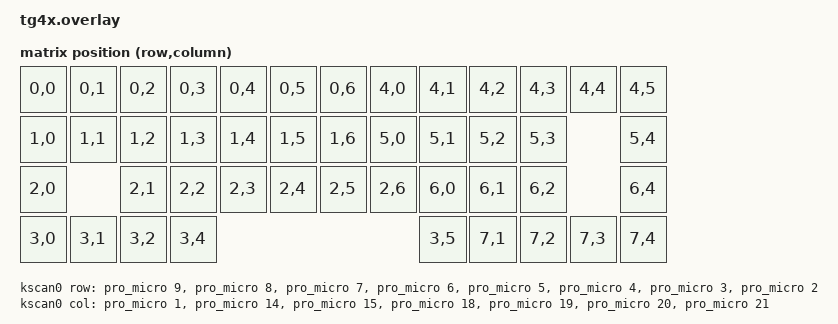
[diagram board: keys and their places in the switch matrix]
/*
 * Copyright (c) 2020 The ZMK Contributors
 *
 * SPDX-License-Identifier: MIT
 */

#include <dt-bindings/zmk/matrix_transform.h>

/ {
	kscan0: kscan {
		compatible = "zmk,kscan-gpio-matrix";
		label = "KSCAN";
		
		diode-direction = "col2row";

		row-gpios
			= <&pro_micro 9 (GPIO_ACTIVE_HIGH | GPIO_PULL_DOWN)>
			, <&pro_micro 8 (GPIO_ACTIVE_HIGH | GPIO_PULL_DOWN)>
			, <&pro_micro 7 (GPIO_ACTIVE_HIGH | GPIO_PULL_DOWN)>
			, <&pro_micro 6 (GPIO_ACTIVE_HIGH | GPIO_PULL_DOWN)>
			, <&pro_micro 5 (GPIO_ACTIVE_HIGH | GPIO_PULL_DOWN)>
			, <&pro_micro 4 (GPIO_ACTIVE_HIGH | GPIO_PULL_DOWN)>
			, <&pro_micro 3 (GPIO_ACTIVE_HIGH | GPIO_PULL_DOWN)>
			, <&pro_micro 2 (GPIO_ACTIVE_HIGH | GPIO_PULL_DOWN)>
			;

		col-gpios
			= <&pro_micro 1 GPIO_ACTIVE_HIGH>
			, <&pro_micro 14 GPIO_ACTIVE_HIGH>
			, <&pro_micro 15 GPIO_ACTIVE_HIGH>
			, <&pro_micro 18 GPIO_ACTIVE_HIGH>
			, <&pro_micro 19 GPIO_ACTIVE_HIGH>
			, <&pro_micro 20 GPIO_ACTIVE_HIGH>
			, <&pro_micro 21 GPIO_ACTIVE_HIGH>
			;
	};

	default_transform: keymap_transform_0 {
		compatible = "zmk,matrix-transform";
		rows = <8>;
		columns = <7>;

		map = <
RC(0,0) RC(0,1) RC(0,2) RC(0,3) RC(0,4) RC(0,5) RC(0,6) RC(4,0) RC(4,1) RC(4,2) RC(4,3) RC(4,4) RC(4,5)
RC(1,0) RC(1,1) RC(1,2) RC(1,3) RC(1,4) RC(1,5) RC(1,6) RC(5,0) RC(5,1) RC(5,2) RC(5,3)         RC(5,4)
RC(2,0)         RC(2,1) RC(2,2) RC(2,3) RC(2,4) RC(2,5) RC(2,6) RC(6,0) RC(6,1) RC(6,2)         RC(6,4)
RC(3,0) RC(3,1) RC(3,2) RC(3,4)                                 RC(3,5) RC(7,1) RC(7,2) RC(7,3) RC(7,4)
		>;
	};

	chosen {
		zmk,kscan = &kscan0;
		zmk,matrix_transform = &default_transform;
	};
};
